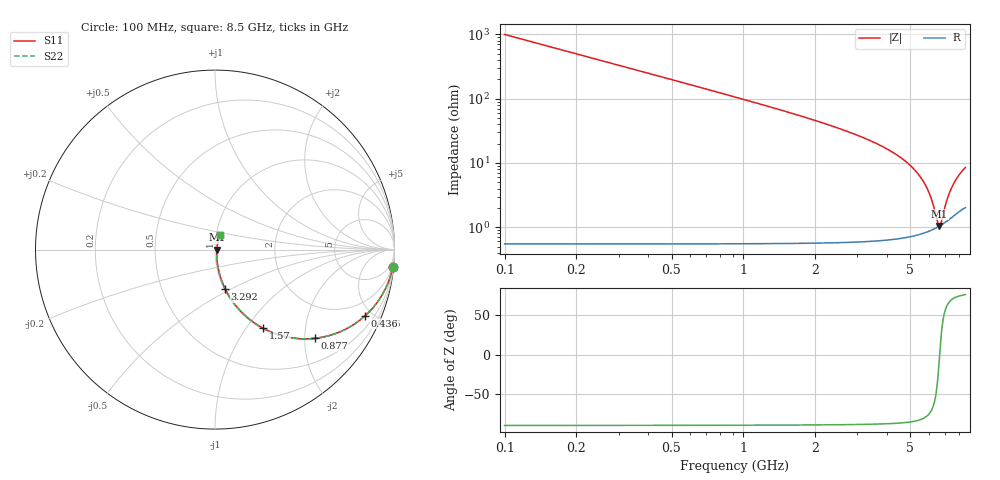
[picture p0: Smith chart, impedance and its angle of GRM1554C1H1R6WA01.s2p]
!Murata Part Number: GRM1554C1H1R6WA01
!These Parameters are Measured in Series Mode Connection
!Data Generated on Mar 30, 2021
!  o--ll--o
!Port1  Port2
!  o------o
!Operation Temp=25[degC], DC Bias Voltage=0[V]
!Freq. Start=100[MHz] Stop=9[GHz] 401[Steps]
# Hz S RI R 50
!Freq.(Hz) S11(Real) S11(Imag) S21(Real) S21(Imag) S12(Real) S12(Imag) S22(Real) S22(Imag)
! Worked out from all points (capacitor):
!   401 points, 100 MHz to 8.5 GHz, reference 50 ohm
!   read as one part in series: C = 1.6 pF near 142 MHz
!   lowest |Z| = 1.04 ohm at 6.61 GHz (marker M1)
!   series resonance near 6.631 GHz, so ESL is about 360 pH
!   S11 on the Smith chart (normalised r, x): 100 MHz: 1, -20; 436 MHz: 1.01, -4.55; 877 MHz: 1.01, -2.23; 1.57 GHz: 1.01, -1.20; 3.292 GHz: 1.01, -0.47; 8.5 GHz: 1.04, +0.16
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1e8  0.9899 -0.0995  0.0101 0.0995  0.0101 0.0995  0.9899 -0.0995
2.47e8  0.9415 -0.234  0.0585 0.234  0.0585 0.234  0.9415 -0.234
4.36e8  0.8372 -0.368  0.1628 0.368  0.1628 0.368  0.8372 -0.368
6.25e8  0.713 -0.4506  0.287 0.4506  0.287 0.4506  0.713 -0.4506
8.77e8  0.5545 -0.4945  0.4455 0.4945  0.4455 0.4945  0.5545 -0.4945
1.192e9  0.397 -0.4859  0.603 0.4859  0.603 0.4859  0.397 -0.4859
1.507e9  0.2854 -0.4472  0.7146 0.4472  0.7146 0.4472  0.2854 -0.4472
1.57e9  0.2676 -0.4381  0.7324 0.4381  0.7324 0.4381  0.2676 -0.4381
2.158e9  0.1513 -0.3516  0.8487 0.3516  0.8487 0.3516  0.1513 -0.3516
2.914e9  0.0777 -0.2575  0.9223 0.2575  0.9223 0.2575  0.0777 -0.2575
3.292e9  0.0567 -0.2189  0.9433 0.2189  0.9433 0.2189  0.0567 -0.2189
4.3e9  0.0253 -0.1355  0.9747 0.1355  0.9747 0.1355  0.0253 -0.1355
5.119e9  0.014 -0.0817  0.986 0.0817  0.986 0.0817  0.014 -0.0817
5.707e9  0.0104 -0.0478  0.9896 0.0478  0.9896 0.0478  0.0104 -0.0478
6.085e9  0.00958 -0.0275  0.9904 0.0275  0.9904 0.0275  0.00958 -0.0275
6.505e9  0.00998 -0.00619  0.99 0.00619  0.99 0.00619  0.00998 -0.00619
6.61e9  0.0103 -0.00102  0.9897 0.00102  0.9897 0.00102  0.0103 -0.00102
6.715e9  0.0107 0.00408  0.9893 -0.00408  0.9893 -0.00408  0.0107 0.00408
7.114e9  0.0128 0.0228  0.9872 -0.0228  0.9872 -0.0228  0.0128 0.0228
7.366e9  0.0147 0.0341  0.9853 -0.0341  0.9853 -0.0341  0.0147 0.0341
7.681e9  0.0176 0.0476  0.9824 -0.0476  0.9824 -0.0476  0.0176 0.0476
8.5e9  0.0261 0.0787  0.9739 -0.0787  0.9739 -0.0787  0.0261 0.0787
